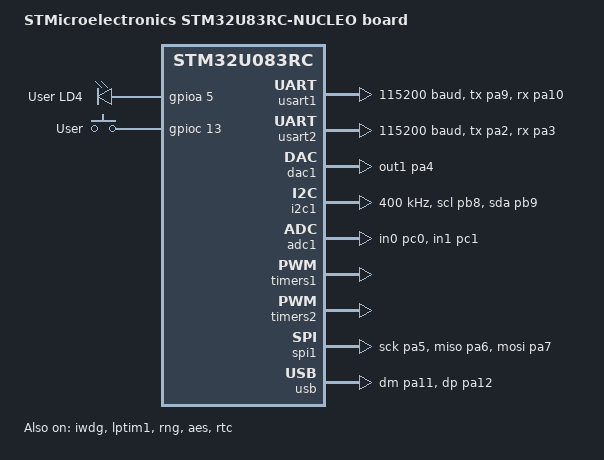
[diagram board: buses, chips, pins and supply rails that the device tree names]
/*
 * Copyright (c) 2024 STMicroelectronics
 *
 * SPDX-License-Identifier: Apache-2.0
 */

/dts-v1/;
#include <st/u0/stm32u083Xc.dtsi>
#include <st/u0/stm32u083rctx-pinctrl.dtsi>
#include "arduino_r3_connector.dtsi"
#include <zephyr/dt-bindings/input/input-event-codes.h>

/ {
	model = "STMicroelectronics STM32U83RC-NUCLEO board";
	compatible = "st,stm32u083rc-nucleo";

	#address-cells = <1>;
	#size-cells = <1>;

	chosen {
		zephyr,console = &usart2;
		zephyr,shell-uart = &usart2;
		zephyr,sram = &sram0;
		zephyr,flash = &flash0;
	};

	leds: leds {
		compatible = "gpio-leds";
		green_led_1: led_4 {
			gpios = <&gpioa 5 GPIO_ACTIVE_HIGH>;
			label = "User LD4";
		};
	};

	gpio_keys {
		compatible = "gpio-keys";
		user_button: button {
			label = "User";
			gpios = <&gpioc 13 GPIO_ACTIVE_HIGH>;
			zephyr,code = <INPUT_KEY_0>;
		};
	};

	aliases {
		led0 = &green_led_1;
		sw0 = &user_button;
		watchdog0 = &iwdg;
	};
};

&usart1 {
	pinctrl-0 = <&usart1_tx_pa9 &usart1_rx_pa10>;
	pinctrl-names = "default";
	current-speed = <115200>;
	status = "okay";
};

&usart2 {
	pinctrl-0 = <&usart2_tx_pa2 &usart2_rx_pa3>;
	pinctrl-names = "default";
	current-speed = <115200>;
	status = "okay";
};

&iwdg {
	status = "okay";
};

&clk_hsi {
	status = "okay";
};

&clk_hsi48 {
	status = "okay";
};

&clk_lse {
	status = "okay";
};

&clk_lsi {
	status = "okay";
};

&pll {
	div-m = <1>;
	mul-n = <6>;
	div-p = <2>;
	div-q = <2>;
	div-r = <2>;
	clocks = <&clk_hsi>;
	status = "okay";
};

&rcc {
	clocks = <&pll>;
	clock-frequency = <DT_FREQ_M(48)>;
	ahb-prescaler = <1>;
	apb1-prescaler = <1>;
};

&dac1 {
	status = "okay";
	pinctrl-0 = <&dac1_out1_pa4>;
	pinctrl-names = "default";
};

&i2c1 {
	pinctrl-0 = <&i2c1_scl_pb8 &i2c1_sda_pb9>;
	pinctrl-names = "default";
	status = "okay";
	clock-frequency = <I2C_BITRATE_FAST>;
};

&adc1 {
	pinctrl-0 = <&adc1_in0_pc0 &adc1_in1_pc1>;
	pinctrl-names = "default";
	st,adc-clock-source = "ASYNC";
	clocks = <&rcc STM32_CLOCK_BUS_APB1_2 0x00100000>,
		 <&rcc STM32_SRC_HSI ADC_SEL(2)>;
	st,adc-prescaler = <4>;
	status = "okay";
	vref-mv = <3300>;
};

&timers1 {
	st,prescaler = <10000>;
	status = "okay";

	pwm1: pwm {
		status = "okay";
		pinctrl-0 = <&tim1_ch1_pa8>;
		pinctrl-names = "default";
	};
};

&timers2 {
	st,prescaler = <10000>;
	status = "okay";

	pwm2: pwm {
		pinctrl-0 = <&tim2_ch1_pa5>;
		pinctrl-names = "default";
		status = "okay";
	};
};

stm32_lp_tick_source: &lptim1 {
	clocks = <&rcc STM32_CLOCK(APB1, 31U)>,
		<&rcc STM32_SRC_LSI LPTIM1_SEL(1)>;
	status = "okay";
};

&spi1{
	pinctrl-0 = <&spi1_sck_pa5 &spi1_miso_pa6 &spi1_mosi_pa7>;
	cs-gpios = <&gpioa 4 (GPIO_ACTIVE_LOW | GPIO_PULL_UP)>;
	pinctrl-names = "default";
	status = "okay";
};

&dma1 {
	status = "okay";
};

&dmamux1 {
	status = "okay";
};

&rng {
	clocks = <&rcc STM32_CLOCK(AHB1, 18U)>,
		<&rcc STM32_SRC_HSI48 CLK48_SEL(1)>;
	status = "okay";
};

&aes {
	status = "okay";
};

zephyr_udc0: &usb {
	clocks = <&rcc STM32_CLOCK(APB1, 13U)>,
		 <&rcc STM32_SRC_HSI48 CLK48_SEL(1)>;
	pinctrl-0 = <&usb_dm_pa11 &usb_dp_pa12>;
	pinctrl-names = "default";
	status = "okay";
};

&rtc {
	clocks = <&rcc STM32_CLOCK(APB1, 10U)>,
		 <&rcc STM32_SRC_LSE RTC_SEL(1)>;
	status = "okay";
};
